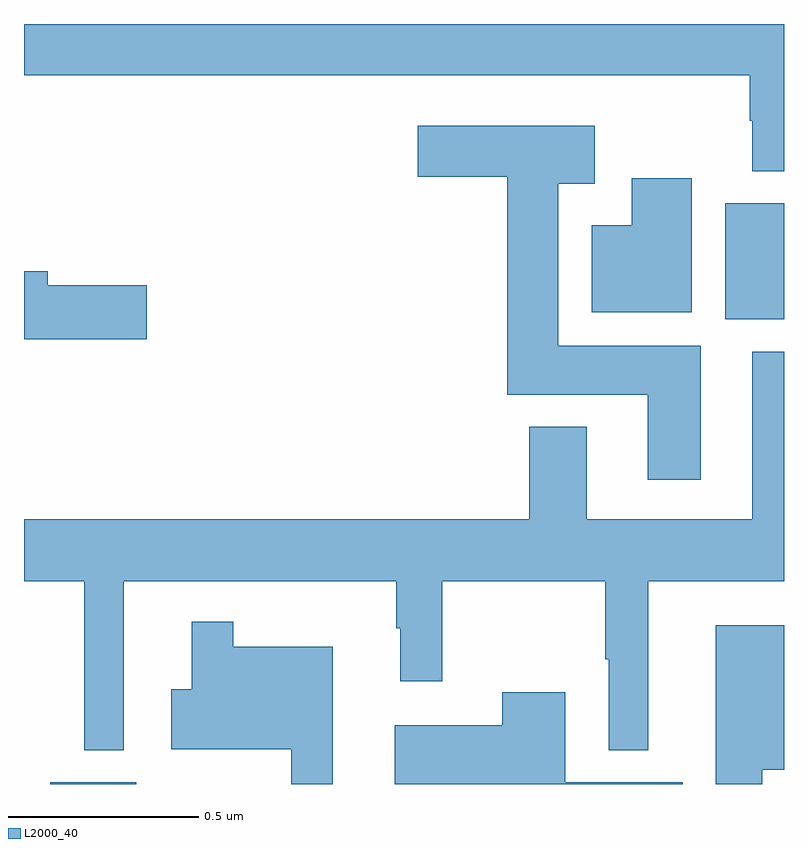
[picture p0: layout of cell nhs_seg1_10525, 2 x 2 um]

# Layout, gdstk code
import gdstk
lib = gdstk.Library(unit=1e-6, precision=1e-09)
def R(c, l, rs):  # rectangles x0, y0, x1, y1
    for r in rs: c.add(gdstk.rectangle(r[:2], r[2:], *l))
def P(c, l, *ps):  # polygons
    for p in ps: c.add(gdstk.Polygon(p, *l))
L2000_40 = (2000, 40)

nhs_seg1_10525 = lib.new_cell('nhs_seg1_10525')
R(nhs_seg1_10525, L2000_40, [(242.069,551.199,242.296,551.203), (243.845,552.422,244,552.727)])
P(nhs_seg1_10525, L2000_40, [(244,553.199),(242,553.199),(242,553.064),(243.91,553.064),(243.91,552.944),(243.917,552.944),(243.917,552.812),(244,552.812)],
  [(243.781,552.352),(243.406,552.352),(243.406,552.779),(243.502,552.779),(243.502,552.931),(243.036,552.931),(243.036,552.797),(243.272,552.797),(243.272,552.224),(243.641,552.224),(243.641,552),(243.781,552)],
  [(243.757,552.793),(243.599,552.793),(243.599,552.67),(243.494,552.67),(243.494,552.44),(243.757,552.44)],
  [(242.323,552.512),(242.062,552.512),(242.062,552.548),(242,552.548),(242,552.37),(242.323,552.37)],
  [(242.263,551.732),(242.979,551.732),(242.979,551.609),(242.99,551.609),(242.99,551.469),(243.1,551.469),(243.1,551.732),(243.529,551.732),(243.529,551.527),(243.539,551.527),(243.539,551.288),(243.643,551.288),(243.643,551.732),(244,551.732),(244,552.337),(243.917,552.337),(243.917,551.896),(243.481,551.896),(243.481,552.139),(243.329,552.139),(243.329,551.896),(242,551.896),(242,551.732),(242.159,551.732),(242.159,551.288),(242.263,551.288)],
  [(242.812,551.56),(242.551,551.56),(242.551,551.626),(242.441,551.626),(242.441,551.449),(242.388,551.449),(242.388,551.291),(242.703,551.291),(242.703,551.199),(242.812,551.199)],
  [(243.943,551.237),(244,551.237),(244,551.617),(243.821,551.617),(243.821,551.199),(243.943,551.199)],
  [(243.733,551.203),(243.424,551.203),(243.424,551.44),(243.259,551.44),(243.259,551.353),(242.975,551.353),(242.975,551.199),(243.733,551.199)])

lib.write_gds('nhs_seg1_10525.gds')
